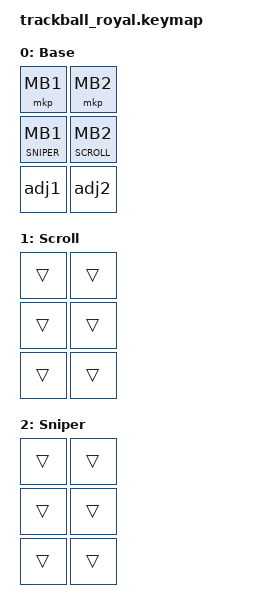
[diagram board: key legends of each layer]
#include <dt-bindings/zmk/input_transform.h>
#include <input/processors.dtsi>
#include <zephyr/dt-bindings/input/input-event-codes.h>
#include <scroll-snap.dtsi>
#include <behaviors.dtsi>
#include <dt-bindings/zmk/keys.h>
#include <dt-bindings/zmk/bt.h>
#include <dt-bindings/zmk/pointing.h>
#include "input/processors/sensor_rotation.dtsi"

#define BASE      0
#define SCROLL    1
#define SNIPER    2

/ {
    combos {
        compatible = "zmk,combos";
        
        mmb_combo {
            timeout-ms = <75>;
            key-positions = <0 1>;
            bindings = <&mkp MB3>;
            layers = <BASE>;
        };
        
        esc_combo {
            timeout-ms = <75>;
            key-positions = <2 3>;
            bindings = <&kp ESC>;
            layers = <BASE>;
        };
        
        grab_combo {
            timeout-ms = <75>;
            key-positions = <0 1 3>;
            bindings = <&grab_window>;
            layers = <BASE>;
        };
        
        snipe_press_combo {
            timeout-ms = <75>;
            key-positions = <0 3>;
            bindings = <&snipe_press>;
            layers = <BASE>;
        };
    };

    macros {
        grab_window: grab_window {
            compatible = "zmk,behavior-macro";
            #binding-cells = <0>;
            bindings = 
                <&macro_press &kp LGUI>,
                <&macro_press &mkp MB1>,
                <&macro_release &kp LGUI>,
                <&macro_pause_for_release>,
                <&macro_release &mkp MB1>;
        };
        
        snipe_press: snipe_press {
            compatible = "zmk,behavior-macro";
            #binding-cells = <0>;
            bindings = 
                <&macro_press &mo SNIPER>,
                <&macro_press &mkp MB1>,
                <&macro_pause_for_release>,
                <&macro_release &mkp MB1>,
                <&macro_release &mo SNIPER>;
        };
    };
    
    behaviors {
        adj1: adj1 {
            compatible = "zmk,behavior-tap-dance";
            label = "ADJ1";
            #binding-cells = <0>;
            bindings = <&bt BT_SEL 0>, <&bt BT_CLR>;
        };
        
        adj2: adj2 {
            compatible = "zmk,behavior-tap-dance";
            label = "ADJ2";
            #binding-cells = <0>;
            bindings = <&bt BT_NXT>, <&bt BT_CLR_ALL>;
        };
        
        momkp: momkp {
            compatible = "zmk,behavior-hold-tap";
            #binding-cells = <2>;
            flavor = "hold-preferred";
            tapping-term-ms = <200>;
            bindings = <&mo>, <&mkp>;
        };
    };
    
    keymap {
        compatible = "zmk,keymap";
        
        base {
            bindings = <
                &mkp MB1           &mkp MB2
                &momkp SNIPER MB1  &momkp SCROLL MB2
                &adj1              &adj2
            >;

            display-name = "Base";
        };
        
        scroll {
            bindings = <
                &trans       &trans
                &trans       &trans
                &trans       &trans
            >;

            display-name = "Scroll";
        };
        
        sniper {
            bindings = <
                &trans      &trans
                &trans      &trans
                &trans      &trans
            >;

            display-name = "Sniper";
        };
    };
    
    input_processors {
        sensor_rotation: sensor_rotation {
            compatible = "zmk,input-processor-sensor-rotation";
            status = "okay";
            #input-processor-cells = <0>;
            rotation-angle = <5>;
        };
    };
};

&trackball { cpi = <800>; };

&trackball_listener {
    input-processors = <&zip_y_scaler 1 2>, <&zip_x_scaler 1 1>, <&sensor_rotation>;
    
    scroller {
        layers = <SCROLL>;
        input-processors =
            <&zip_xy_transform INPUT_TRANSFORM_Y_INVERT>,
            <&zip_xy_scaler 1 32>,
            <&zip_xy_to_scroll_mapper &zip_scroll_snap>;
    };
    
    sniper {
        layers = <SNIPER>;
        input-processors = <&zip_xy_scaler 1 4>;
    };
};
